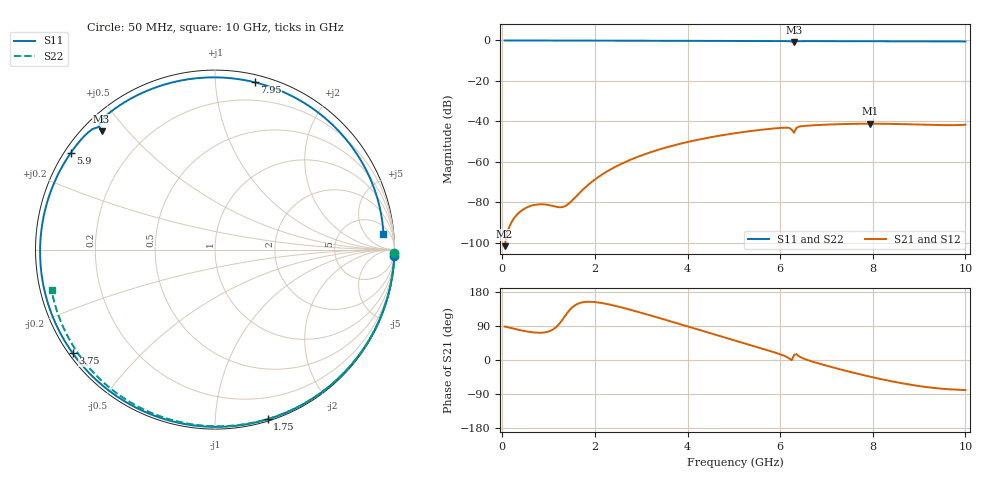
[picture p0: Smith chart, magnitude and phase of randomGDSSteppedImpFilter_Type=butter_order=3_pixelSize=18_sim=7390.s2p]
! freq	dB(S11)	phase(S11)	dB(S12)	phase(S12)
!  dB(S21)	phase(S21)	dB(S22)	phase(S22)
!S-par simulation data
#  GHz  S  DB  R 50
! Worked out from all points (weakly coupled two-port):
!   200 points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, 50 MHz to 10 GHz, reference 50 ohm
!   highest |S21| = -41.15 dB at 7.95 GHz (marker M1); lowest = -101.7 dB at 50 MHz (marker M2)
!   lowest |S11| = -0.8 dB at 6.3 GHz (marker M3), VSWR 22.07, Z = 2.68 + j21.3 ohm
!   |S11| at or under -10 dB: nowhere
!   |S22| runs from -0.6 to 0.0 dB; largest |S21 - S12| = 0
!   S11 on the Smith chart (normalised r, x): 50 MHz: 0, -52; 1.75 GHz: 0.01, -1.36; 3.75 GHz: 0.01, -0.33; 5.9 GHz: 0.02, +0.30; 7.95 GHz: 0.06, +1.26; 10 GHz: 10, +15
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0.05  -0.00 -2.2  -101.66 88.5  -101.66 88.5  -0.00 -1.0
0.7  -0.04 -30.0  -81.26 72.5  -81.26 72.5  -0.02 -13.3
1.45  -0.08 -61.0  -80.36 131.3  -80.36 131.3  -0.03 -27.4
1.75  -0.09 -72.8  -73.50 152.5  -73.50 152.5  -0.04 -32.9
2.05  -0.10 -84.3  -67.88 152.1  -67.88 152.1  -0.05 -38.4
2.45  -0.12 -99.1  -62.35 142.6  -62.35 142.6  -0.06 -45.6
2.9  -0.14 -115.1  -57.73 128.1  -57.73 128.1  -0.07 -53.6
3.4  -0.16 -132.3  -53.81 110.5  -53.81 110.5  -0.08 -62.3
3.75  -0.17 -143.9  -51.58 97.8  -51.58 97.8  -0.09 -68.3
4.4  -0.20 -165.1  -48.27 74.2  -48.27 74.2  -0.11 -79.2
5.05  -0.23 173.9  -45.76 50.5  -45.76 50.5  -0.14 -89.8
5.9  -0.29 146.2  -43.42 19.2  -43.42 19.2  -0.18 -103.3
6.2  -0.38 135.4  -43.26 3.9  -43.26 3.9  -0.20 -107.9
6.3  -0.79 133.8  -45.61 13.1  -45.61 13.1  -0.20 -109.5
6.35  -0.48 133.2  -43.27 15.6  -43.27 15.6  -0.20 -110.2
6.4  -0.37 131.1  -42.63 10.4  -42.63 10.4  -0.21 -111.0
6.7  -0.33 120.2  -41.95 -4.3  -41.95 -4.3  -0.23 -115.6
7.35  -0.35 97.7  -41.32 -26.4  -41.32 -26.4  -0.27 -125.5
7.95  -0.37 76.7  -41.15 -44.3  -41.15 -44.3  -0.32 -134.5
8.35  -0.38 62.6  -41.22 -54.8  -41.22 -54.8  -0.36 -140.6
9.2  -0.42 32.7  -41.69 -72.0  -41.69 -72.0  -0.45 -153.5
10  -0.51 5.2  -41.65 -79.3  -41.65 -79.3  -0.55 -166.1
